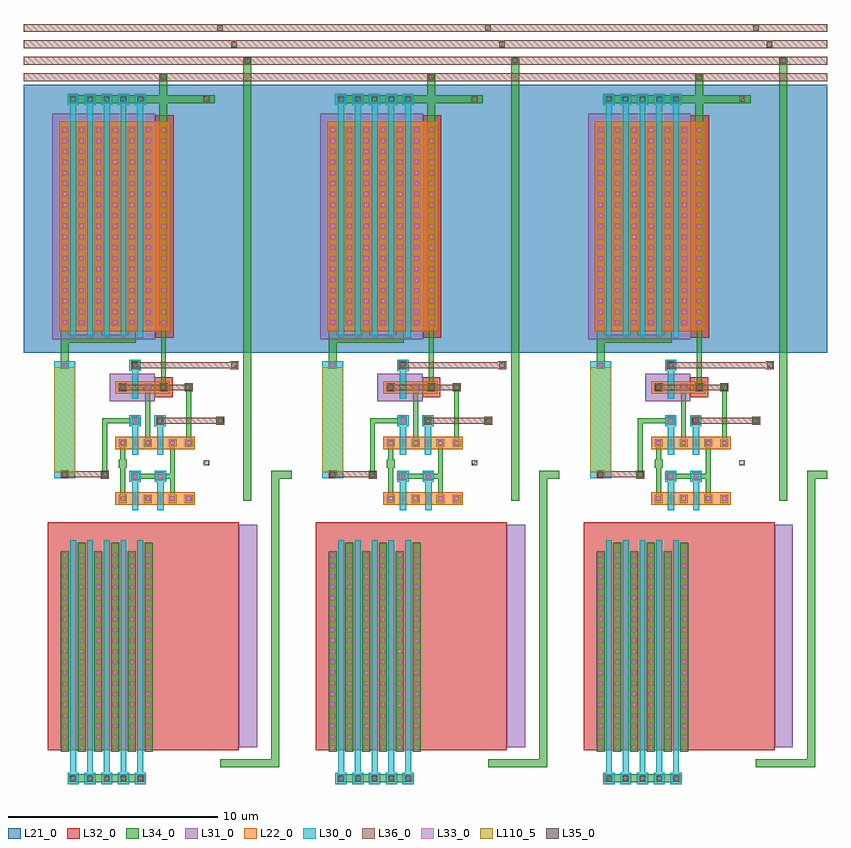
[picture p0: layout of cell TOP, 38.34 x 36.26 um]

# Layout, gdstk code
import gdstk
lib = gdstk.Library(unit=1e-6, precision=1e-09)
def R(c, l, rs):  # rectangles x0, y0, x1, y1
    for r in rs: c.add(gdstk.rectangle(r[:2], r[2:], *l))
def A(c, l, x, y, w, h, nx, ny, dx, dy):  # array of equal rectangles
    R(c, l, [(x+i*dx, y+j*dy, x+i*dx+w, y+j*dy+h) for i in range(nx) for j in range(ny)])
L21_0 = (21, 0)
L22_0 = (22, 0)
L30_0 = (30, 0)
L31_0 = (31, 0)
L32_0 = (32, 0)
L33_0 = (33, 0)
L34_0 = (34, 0)
L35_0 = (35, 0)
L36_0 = (36, 0)
L110_5 = (110, 5)

gainstage = lib.new_cell('GainStage')
R(gainstage, L21_0, [(-6.275,8.285,6.505,21.065)])
R(gainstage, L22_0, [(-1.9,1.03,1.9,1.63), (-1.9,3.68,1.9,4.28), (-1.9,6.33,0.7,6.93), (-4.58,9.32,0.72,19.32)])
A(gainstage, L30_0, -4.18, -12.29, 0.54, 0.54, 5, 2, 0.8, 32.4)
A(gainstage, L30_0, -4.05, -11.75, 0.28, 11.1, 5, 2, 0.8, 20.76)
A(gainstage, L30_0, -1.1, 0.78, 0.3, 1.34, 1, 3, 0, 2.65)
A(gainstage, L30_0, -1.23, 2.12, 0.54, 0.54, 1, 3, 0, 2.65)
R(gainstage, L30_0, [(0.11,0.78,0.41,2.12), (-0.02,2.12,0.52,2.66), (-4.81,2.29,-3.81,7.89), (-4.81,2.29,-3.81,7.89), (0.09,3.43,0.39,4.77), (-0.04,4.77,0.5,5.31)])
R(gainstage, L31_0, [(3.99,-10.525,4.87,0.087), (-2.175,5.98,-0.025,7.28), (-4.9,8.94,0,19.69)])
R(gainstage, L32_0, [(-5.12,-10.68,3.99,0.2), (-0.025,6.16,0.83,7.11), (0,9.005,0.88,19.615)])
A(gainstage, L33_0, -4.02, -12.13, 0.22, 0.22, 5, 2, 0.8, 32.4)
A(gainstage, L33_0, -4.42, -10.66, 0.22, 0.22, 6, 19, 0.8, 0.51)
A(gainstage, L33_0, -1.65, 1.22, 0.22, 0.22, 1, 3, 0, 2.65)
A(gainstage, L33_0, -0.46, 1.22, 0.22, 0.22, 1, 3, 0, 2.65)
A(gainstage, L33_0, -1.07, 2.28, 0.22, 0.22, 1, 3, 0, 2.65)
A(gainstage, L33_0, 0.285, 9.615, 0.22, 0.22, 1, 19, 0, 0.51)
A(gainstage, L33_0, -4.42, 9.62, 0.22, 0.22, 6, 19, 0.8, 0.51)
R(gainstage, L33_0, [(0.72,1.22,0.94,1.44), (1.49,1.22,1.71,1.44), (0.14,2.28,0.36,2.5), (-4.42,2.37,-4.2,2.59), (-4.42,2.37,-4.2,2.59), (0.72,3.87,0.94,4.09), (1.49,3.87,1.71,4.09), (0.12,4.93,0.34,5.15), (0.29,6.52,0.51,6.74), (-4.42,7.59,-4.2,7.81), (-4.42,7.59,-4.2,7.81)])
A(gainstage, L34_0, -4.1, -12.21, 0.38, 0.38, 5, 2, 0.8, 32.4)
A(gainstage, L34_0, -4.5, -10.74, 0.38, 9.56, 6, 2, 0.8, 20.28)
A(gainstage, L34_0, -3.7, -1.18, 0.38, 0.4, 3, 1, 1.6, 0)
A(gainstage, L34_0, -0.54, 1.14, 0.38, 0.38, 1, 3, 0, 2.65)
A(gainstage, L34_0, 1.41, 1.14, 0.38, 0.38, 1, 3, 0, 2.65)
A(gainstage, L34_0, -1.15, 2.2, 0.38, 0.38, 1, 3, 0, 2.65)
A(gainstage, L34_0, -4.5, 9.14, 0.38, 0.4, 3, 1, 1.6, 0)
R(gainstage, L34_0, [(-4.1,-12.21,-0.52,-11.83), (3.105,-11.486,5.925,-11.106), (5.545,-11.486,5.925,2.665), (-1.73,1.14,-1.35,1.52), (0.64,1.14,1.02,1.52), (4.21,1.22,4.59,22.41), (0.715,1.52,0.945,3.79), (-1.655,1.525,-1.425,3.795), (0.06,2.2,0.44,2.58), (-0.77,2.275,0.06,2.505), (0.44,2.275,0.94,2.505), (-2.6,2.28,-2.22,2.66), (5.545,2.285,6.505,2.665), (-4.5,2.29,-4.12,2.67), (-4.5,2.29,-4.12,2.67), (-2.525,2.355,-2.295,5.155), (-1.73,2.805,-1.35,3.185), (-1.73,3.79,-1.35,4.17), (0.64,3.79,1.02,4.17), (-0.465,4.17,-0.235,6.44), (1.485,4.17,1.715,6.44), (0.04,4.85,0.42,5.23), (2.92,4.85,3.3,5.23), (-2.525,4.925,-0.845,5.155), (-1.73,6.44,-1.35,6.82), (0.21,6.44,0.59,6.82), (0.28,6.525,0.51,9.835), (-4.5,7.51,-4.12,7.89), (-4.5,7.51,-4.12,7.89), (-4.5,7.89,-4.12,8.76), (-4.5,8.76,-0.92,9.14), (0.205,9.535,0.585,19.095), (0.205,19.095,0.585,19.515), (0.205,19.515,0.585,21.625), (-4.1,20.19,2.85,20.57), (-4.1,20.19,-0.52,20.57)])
A(gainstage, L35_0, -4.04, -12.15, 0.26, 0.26, 5, 2, 0.8, 32.4)
R(gainstage, L35_0, [(-2.545,2.345,-2.285,2.605), (-4.44,2.35,-4.18,2.61), (-4.44,2.35,-4.18,2.61), (-4.44,2.35,-4.18,2.61), (2.315,2.908,2.575,3.168), (0.1,4.91,0.36,5.17), (2.98,4.91,3.24,5.17), (-1.67,6.5,-1.41,6.76), (0.27,6.5,0.53,6.76), (1.47,6.5,1.73,6.76), (-1.09,7.56,-0.83,7.82), (3.64,7.56,3.9,7.82), (2.315,20.255,2.575,20.515), (0.265,21.305,0.525,21.565), (4.27,22.09,4.53,22.35), (3.63,22.87,3.89,23.13), (2.97,23.65,3.23,23.91)])
A(gainstage, L36_0, -6.27, 21.25, 12.78, 0.38, 1, 4, 0, 0.78)
R(gainstage, L36_0, [(-2.6,2.28,-2.22,2.66), (-4.5,2.29,-4.12,2.67), (-4.45,2.34,-2.28,2.62), (0.04,4.85,0.42,5.23), (2.92,4.85,3.3,5.23), (0.12,4.9,3.22,5.18), (-1.73,6.44,-1.35,6.82), (0.21,6.44,0.59,6.82), (1.41,6.44,1.79,6.82), (-1.65,6.49,1.71,6.77), (-1.15,7.5,-0.77,7.88), (3.58,7.5,3.96,7.88), (-1.07,7.55,3.88,7.83)])
R(gainstage, L110_5, [(-4.81,2.59,-3.81,7.59), (-4.81,2.59,-3.81,7.59)])

top = lib.new_cell('TOP')
r = gdstk.Reference(gainstage, (-11.82,-0.06)); r.repetition = gdstk.Repetition(1, 1, v1=(0,0), v2=(0,0)); top.add(r)
r = gdstk.Reference(gainstage, (0.96,-0.06)); r.repetition = gdstk.Repetition(1, 1, v1=(0,0), v2=(0,0)); top.add(r)
r = gdstk.Reference(gainstage, (13.74,-0.06)); r.repetition = gdstk.Repetition(1, 1, v1=(0,0), v2=(0,0)); top.add(r)

lib.write_gds('TOP.gds')
